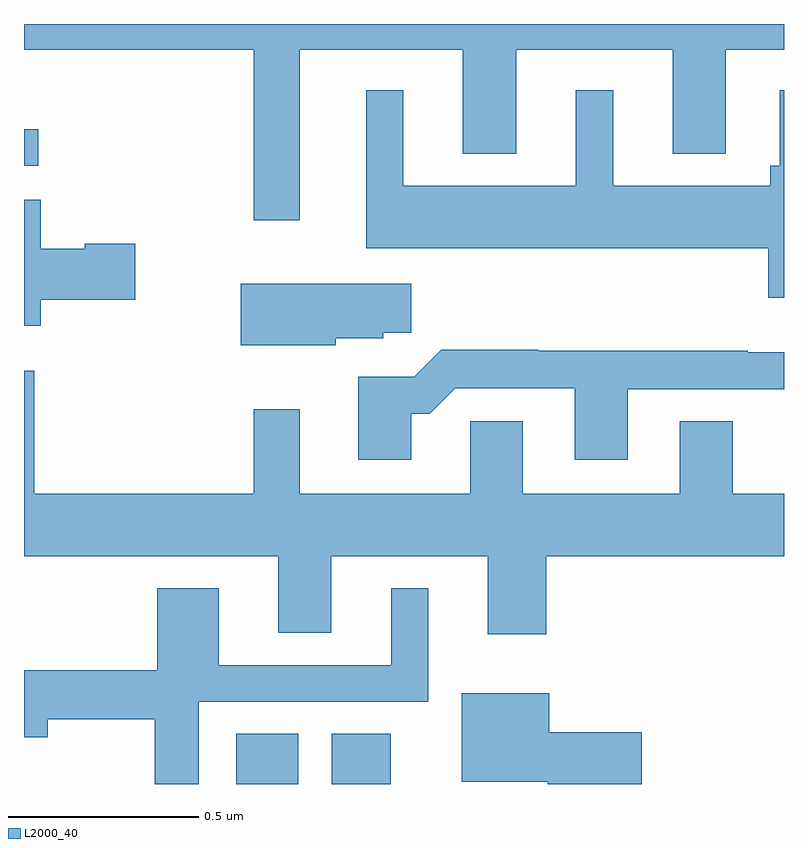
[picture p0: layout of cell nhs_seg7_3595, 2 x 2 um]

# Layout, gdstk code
import gdstk
lib = gdstk.Library(unit=1e-6, precision=1e-09)
def R(c, l, rs):  # rectangles x0, y0, x1, y1
    for r in rs: c.add(gdstk.rectangle(r[:2], r[2:], *l))
def P(c, l, *ps):  # polygons
    for p in ps: c.add(gdstk.Polygon(p, *l))
L2000_40 = (2000, 40)

nhs_seg7_3595 = lib.new_cell('nhs_seg7_3595')
R(nhs_seg7_3595, L2000_40, [(161.558,1016,161.722,1016.132), (161.81,1016,161.965,1016.132), (161,1017.627,161.038,1017.723)])
P(nhs_seg7_3595, L2000_40, [(161.725,1017.932),(162.155,1017.932),(162.155,1017.659),(162.295,1017.659),(162.295,1017.932),(162.707,1017.932),(162.707,1017.659),(162.847,1017.659),(162.847,1017.932),(163,1017.932),(163,1018),(161,1018),(161,1017.932),(161.604,1017.932),(161.604,1017.483),(161.725,1017.483)],
  [(163,1017.826),(162.989,1017.826),(162.989,1017.627),(162.964,1017.627),(162.964,1017.574),(162.55,1017.574),(162.55,1017.826),(162.452,1017.826),(162.452,1017.574),(161.998,1017.574),(161.998,1017.826),(161.9,1017.826),(161.9,1017.41),(162.959,1017.41),(162.959,1017.279),(163,1017.279)],
  [(161.044,1017.275),(161.293,1017.275),(161.293,1017.422),(161.16,1017.422),(161.16,1017.409),(161.044,1017.409),(161.044,1017.538),(161,1017.538),(161,1017.206),(161.044,1017.206)],
  [(161.82,1017.173),(161.946,1017.173),(161.946,1017.187),(162.019,1017.187),(162.019,1017.316),(161.57,1017.316),(161.57,1017.155),(161.82,1017.155)],
  [(162.019,1016.975),(162.068,1016.975),(162.135,1017.042),(162.449,1017.042),(162.449,1016.853),(162.589,1016.853),(162.589,1017.039),(163,1017.039),(163,1017.136),(162.905,1017.136),(162.905,1017.14),(162.353,1017.14),(162.353,1017.143),(162.098,1017.143),(162.027,1017.072),(161.879,1017.072),(161.879,1016.853),(162.019,1016.853)],
  [(162.374,1016.6),(163,1016.6),(163,1016.764),(162.865,1016.764),(162.865,1016.954),(162.725,1016.954),(162.725,1016.764),(162.313,1016.764),(162.313,1016.954),(162.174,1016.954),(162.174,1016.764),(161.725,1016.764),(161.725,1016.986),(161.604,1016.986),(161.604,1016.764),(161.027,1016.764),(161.027,1017.088),(161,1017.088),(161,1016.6),(161.669,1016.6),(161.669,1016.398),(161.809,1016.398),(161.809,1016.6),(162.221,1016.6),(162.221,1016.394),(162.374,1016.394)],
  [(161.46,1016.217),(162.064,1016.217),(162.064,1016.515),(161.966,1016.515),(161.966,1016.313),(161.512,1016.313),(161.512,1016.515),(161.351,1016.515),(161.351,1016.299),(161,1016.299),(161,1016.123),(161.062,1016.123),(161.062,1016.17),(161.344,1016.17),(161.344,1016),(161.46,1016)],
  [(162.625,1016.136),(162.382,1016.136),(162.382,1016.239),(162.152,1016.239),(162.152,1016.006),(162.378,1016.006),(162.378,1016),(162.625,1016)])

lib.write_gds('nhs_seg7_3595.gds')
